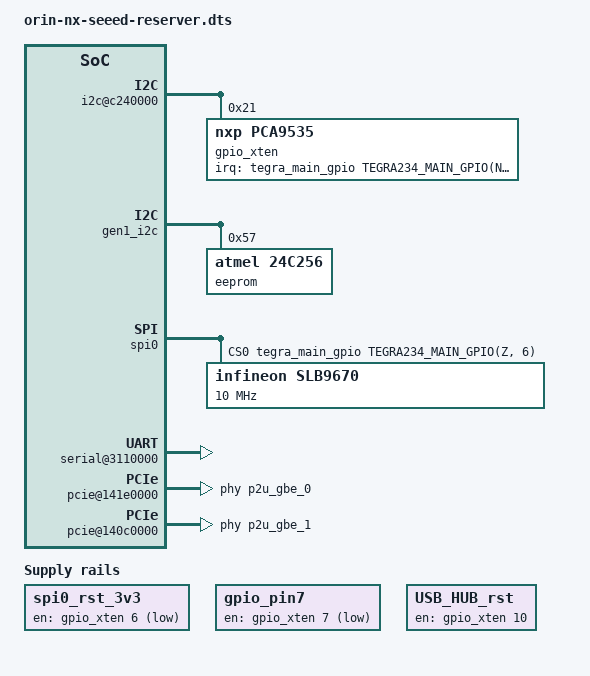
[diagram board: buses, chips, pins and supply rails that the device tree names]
/*
 * Copyright (C) 2022 Seeed Studio
 *
 * MIT License
 *
 */

/dts-v1/;
/plugin/;

#include <dt-bindings/interrupt-controller/irq.h>
#include <dt-bindings/pinctrl/pinctrl-tegra.h>
#include <dt-bindings/gpio/tegra234-gpio.h>
#include <dt-bindings/pinctrl/tegra234-p3767-0000-common.h>

/ {
    overlay-name = "Jetson Seeed Industrial Overlay";
	jetson-header-name = "Jetson 40pin Header";
	compatible = JETSON_COMPATIBLE;

    fragment@0 {
		target-path = "/i2c@c240000";

		__overlay__ {
            #address-cells = <1>;
		    #size-cells = <0>;

			gpio_xten: gpio_xten@21 {
				compatible = "nxp,pca9535";
				reg = <0x21>;
		                gpio-controller;
		                #gpio-cells = <2>;
		
		                interrupt-controller;
		                #interrupt-cells=<2>;
		
		                interrupt-parent = <&tegra_main_gpio>;
		                interrupts = <TEGRA234_MAIN_GPIO(N, 1) IRQ_TYPE_EDGE_FALLING>;
		
				gpio-line-names =
					"wl_dis"	 	,"hst_wake_wl",
					"wl_wake_hst"	,"bt_dis",
					"hst_wake_bt"	,"bt_wake_hst",
					"spi0_rst_3v3"	,"gpio_pin7",
					"can_120R_en"	,"M2B_PCIe_rst",
					"USB_HUB_rst"	,"PCIe_ETH_rst",
					"M2B_WOWWAN"	,"M2B_DPR_3V3",
					"SIM_MUX_SEL"	,"gpio_pin15";

				gpio-line-offsets = <0>, <1>, <2>, <3>, <4>, <5>, <6>, <7>, <8>, <9>, <10>, <11>, <12>, <13>, <14>, <15>;
			};
		};
	};


	fragment@1 {
		target = <&gen1_i2c>;

		__overlay__ {
	            #address-cells = <1>;
		    #size-cells = <0>;
	
		    eeprom@57 {
	                compatible = "atmel,24c256";
	                reg = <0x57>;
			/*16 bit*/
                        address-width = <0x10>;
			/*32768 bytes */
                        size = <0x8000>;
	            };
		};
	};


	fragment@3 {
		target-path = "/";

		__overlay__ {

				spi0_rst_3v3: gpio_xten_pin@6 {
					compatible = "regulator-fixed";
					regulator-name = "spi0_rst_3v3";
					gpios = <&gpio_xten 6 GPIO_ACTIVE_HIGH>;
					enable-active-low;
					regulator-always-on;
				};

				gpio_pin7: gpio_xten_pin@7 {
					compatible = "regulator-fixed";
					regulator-name = "gpio_pin7";
					gpios = <&gpio_xten 7 GPIO_ACTIVE_HIGH>;
                                        enable-active-low;
                                        regulator-always-on;
				};
				USB_HUB_rst: gpio_xten_pin@10 {
					compatible = "regulator-fixed";
					regulator-name = "USB_HUB_rst";
					gpios = <&gpio_xten 10 GPIO_ACTIVE_HIGH>;
					enable-active-high;
					regulator-always-on;
				};

		};
	};

	fragment@4 {
		target-path = "/spi@3210000/spi@0";
		__overlay__ {
			status = "disabled";
		};
	};


	fragment@6 {
		target = <&spi0>;
		__overlay__ {
			#address-cells = <0x01>;
			#size-cells = <0x00>;

			status = "okay";
			cs-gpios = <&tegra_main_gpio TEGRA234_MAIN_GPIO(Z, 6) GPIO_ACTIVE_HIGH>;
			num-cs = <1>;

			slb9670@0 {
				compatible = "infineon,slb9670";
				status = "okay";
				reg = <0x0>;
				spi-max-frequency = <10000000>;
				controller-data {
					nvidia,cs-setup-clk-count = <0x1e>;
					nvidia,cs-hold-clk-count = <0x1e>;				
					nvidia,rx-clk-tap-delay = <0x7>;
					nvidia,tx-clk-tap-delay = <0x0>;
					nvidia,cs-inactive-cycles = <0x6>;	
				};
			};
		};
	};

	fragment@7 {
		target = <&pinmux>;
		__overlay__ {
			pinctrl-names = "default";
			pinctrl-0 = <&jetson_io_pinmux>;

			jetson_io_pinmux: exp-header-pinmux {
				hdr40-pin19 {
					nvidia,pins = HDR40_PIN19;
					nvidia,function = HDR40_SPI;
					nvidia,pull = <TEGRA_PIN_PULL_DOWN>;
					nvidia,tristate = <TEGRA_PIN_DISABLE>;
					nvidia,enable-input = <TEGRA_PIN_DISABLE>;
				};
				hdr40-pin21 {
					nvidia,pins = HDR40_PIN21;
					nvidia,function = HDR40_SPI;
					nvidia,pull = <TEGRA_PIN_PULL_DOWN>;
					nvidia,tristate = <TEGRA_PIN_DISABLE>;
					nvidia,enable-input = <TEGRA_PIN_ENABLE>;
				};
				hdr40-pin23 {
					nvidia,pins = HDR40_PIN23;
					nvidia,function = HDR40_SPI;
					nvidia,pull = <TEGRA_PIN_PULL_DOWN>;
					nvidia,tristate = <TEGRA_PIN_DISABLE>;
					nvidia,enable-input = <TEGRA_PIN_ENABLE>;
				};
				hdr40-pin24 {
					nvidia,pins = HDR40_PIN24;
					nvidia,function = HDR40_SPI;
					nvidia,pull = <TEGRA_PIN_PULL_UP>;
					nvidia,tristate = <TEGRA_PIN_DISABLE>;
					nvidia,enable-input = <TEGRA_PIN_DISABLE>;
				};

                                hdr40-pin26 {
                                        nvidia,pins = HDR40_PIN26;
                                        nvidia,function = "gp";
                                        nvidia,pull = <TEGRA_PIN_PULL_UP>;
                                        nvidia,tristate = <TEGRA_PIN_DISABLE>;
                                        nvidia,enable-input = <TEGRA_PIN_DISABLE>;
                                };

                                hdr40-pin29 {
                                        nvidia,pins = "can0_din_paa1";
                                        nvidia,function = "can0";
                                        nvidia,pin-label = "can0_din";
                                        nvidia,tristate = <TEGRA_PIN_ENABLE>;
                                        nvidia,enable-input = <TEGRA_PIN_ENABLE>;
                                };
                                hdr40-pin31 {
                                        nvidia,pins = "can0_dout_paa0";
                                        nvidia,function = "can0";
                                        nvidia,pin-label = "can0_dout";
                                        nvidia,tristate = <TEGRA_PIN_DISABLE>;
                                        nvidia,enable-input = <TEGRA_PIN_DISABLE>;
                                };

                                hdr40-pin13 {
                                        nvidia,pins = "spi3_sck_py0";
                                        nvidia,function = "spi3";
                                        nvidia,pin-label = "spi3_sck";
                                        nvidia,tristate = <TEGRA_PIN_DISABLE>;
                                        nvidia,enable-input = <TEGRA_PIN_ENABLE>;

                                };

                                hdr40-pin16 {
                                        nvidia,pins = "spi3_cs1_py4";
                                        nvidia,function = "spi3";
                                        nvidia,pin-label = "spi3_cs1";
                                        nvidia,tristate = <TEGRA_PIN_DISABLE>;
                                        nvidia,enable-input = <TEGRA_PIN_ENABLE>;

                                };
                                hdr40-pin18 {
                                        nvidia,pins = "spi3_cs0_py3";
                                        nvidia,function = "spi3";
                                        nvidia,pin-label = "spi3_cs0";
                                        nvidia,tristate = <TEGRA_PIN_DISABLE>;
                                        nvidia,enable-input = <TEGRA_PIN_ENABLE>;

                                };

                                hdr40-pin37 {
                                        nvidia,pins = "spi3_mosi_py2";
                                        nvidia,function = "spi3";
                                        nvidia,pin-label = "spi3_dout";
                                        nvidia,tristate = <TEGRA_PIN_DISABLE>;
                                        nvidia,enable-input = <TEGRA_PIN_ENABLE>;

                                };

                                hdr40-pin22 {
                                        nvidia,pins = "spi3_miso_py1";
                                        nvidia,function = "spi3";
                                        nvidia,pin-label = "spi3_din";
                                        nvidia,pull = <TEGRA_PIN_PULL_DOWN>;
                                        nvidia,tristate = <TEGRA_PIN_DISABLE>;
                                        nvidia,enable-input = <TEGRA_PIN_ENABLE>;
                                };

			};
		};
	};

	fragment@8 {
		target-path = "/serial@3110000";
		__overlay__ {
			status = "okay";
		};
	};
        fragment@9 {
                target-path = "/pcie@141e0000";
                __overlay__ {
                            status = "okay";
			    phys = <&p2u_gbe_0>;
			    phy-names = "p2u-0";
                };
        };
        fragment@10 {
                target-path = "/pcie@140c0000";
                __overlay__ {
                            status = "okay";
			    phys = <&p2u_gbe_1>;
			    phy-names = "p2u-0";
                };
        };
	
};

